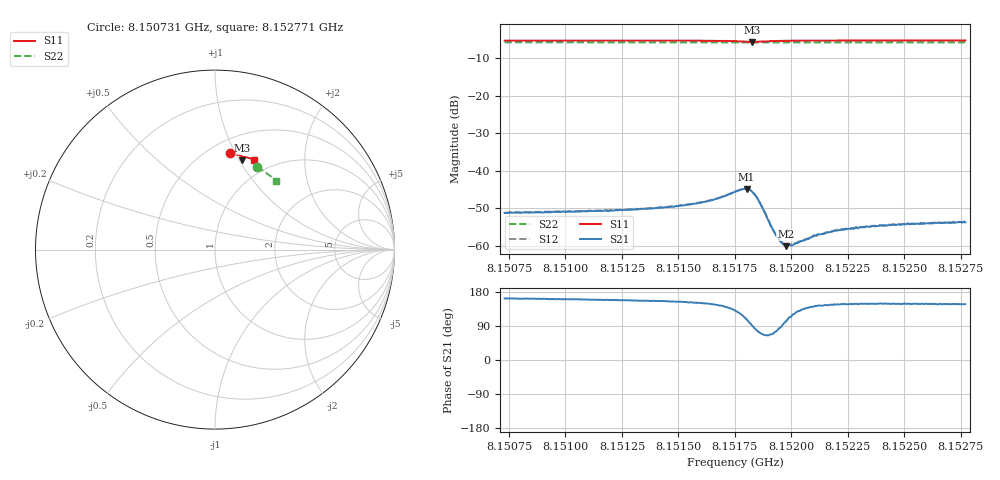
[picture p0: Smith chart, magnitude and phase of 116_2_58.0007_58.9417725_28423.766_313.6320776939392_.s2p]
#  HZ  S  RI  R  50.00
! Rohde & Schwarz Vector Network Analyzer
! Rohde-Schwarz,ZNB20-2Port,1311601062101988,3.16
! Created: UTC 3/21/2024, 12:55:25 AM
! freq[Hz]  re:S11  im:S11  re:S21  im:S21  re:S12  im:S12  re:S22  im:S22
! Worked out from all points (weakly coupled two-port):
!   401 points, 8.150731 GHz to 8.152771 GHz, reference 50 ohm
!   highest |S21| = -44.81 dB at 8.151802 GHz (marker M1); lowest = -60.1 dB at 8.151975 GHz (marker M2)
!   lowest |S11| = -5.7 dB at 8.151827 GHz (marker M3), VSWR 3.17, Z = 37.6 + j51.4 ohm
!   |S11| at or under -10 dB: nowhere
!   |S22| runs from -5.8 to -5.8 dB; largest |S21 - S12| = 0.00014
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8.1507305e9  0.0839 0.5356  -0.00262 0.000826  -0.00266 0.000855  0.2336 0.4588
8.1510724e9  0.1082 0.5317  -0.00271 0.000974  -0.0027 0.00105  0.2529 0.4481
8.1511948e9  0.117 0.53  -0.00272 0.0011  -0.00274 0.00112  0.2596 0.4439
8.1514142e9  0.133 0.5263  -0.00295 0.00133  -0.00294 0.00139  0.2715 0.4362
8.1514907e9  0.1389 0.5246  -0.00304 0.00148  -0.00304 0.00153  0.2756 0.4336
8.1516132e9  0.149 0.5209  -0.00333 0.00195  -0.00333 0.00201  0.2822 0.4291
8.1516846e9  0.1556 0.517  -0.00353 0.00257  -0.00353 0.00266  0.286 0.4263
8.151751e9  0.1608 0.5093  -0.00344 0.004  -0.00339 0.00407  0.2895 0.4236
8.1517816e9  0.1606 0.5031  -0.00275 0.00497  -0.00266 0.00502  0.2909 0.4223
8.151802e9  0.1575 0.4993  -0.00169 0.0055  -0.00166 0.00554  0.2918 0.4216
8.1518275e9  0.151 0.4985  -5.36e-05 0.00524  3.04e-05 0.00529  0.2927 0.4208
8.1518428e9  0.1478 0.5007  0.000754 0.00457  0.000818 0.00459  0.2934 0.4202
8.1518632e9  0.1458 0.5052  0.0012 0.00344  0.00128 0.00344  0.2944 0.4197
8.1519091e9  0.1494 0.513  0.000723 0.00171  0.000752 0.00169  0.2969 0.4184
8.1519346e9  0.1527 0.5149  0.00032 0.00131  0.000342 0.00131  0.2985 0.4175
8.1519601e9  0.1558 0.516  -2.97e-05 0.00108  -2.13e-05 0.00112  0.2999 0.4165
8.1519754e9  0.1575 0.5163  -0.000194 0.000972  -0.000182 0.00101  0.3006 0.4158
8.1520061e9  0.1609 0.5165  -0.000513 0.00088  -0.000506 0.000914  0.3022 0.4147
8.1520928e9  0.1692 0.5156  -0.001 0.000843  -0.001 0.000856  0.3068 0.4112
8.1522152e9  0.1789 0.5131  -0.00136 0.000897  -0.00136 0.000892  0.3129 0.4064
8.1524346e9  0.1947 0.5084  -0.00161 0.000987  -0.00164 0.00101  0.3238 0.3975
8.1527714e9  0.2174 0.5  -0.00174 0.00112  -0.00175 0.00117  0.3399 0.3831
